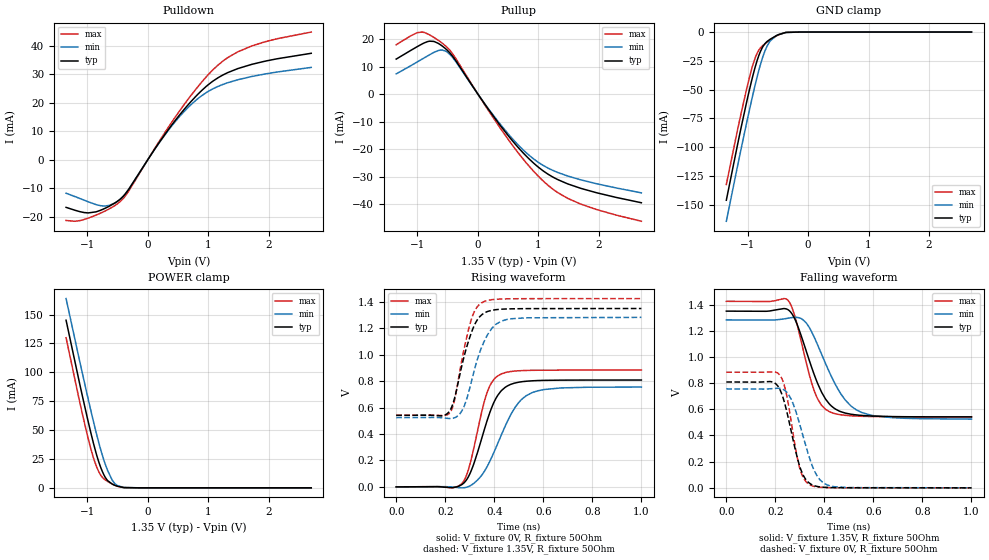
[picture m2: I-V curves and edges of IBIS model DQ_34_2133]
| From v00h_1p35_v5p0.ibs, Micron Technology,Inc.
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| MODEL DQ_34_2133 (34 Ohm Data I/O with no ODT, 2133Mbps)
[Model]   DQ_34_2133
Model_type   I/O
Vinl = 545.000mV
Vinh = 805.000mV
Vmeas = 675.000mV
Vref = 675.000mV
Cref = 0.0pF
Rref = 25.000Ohm
|   typ   min   max
|C_comp   1.100pF   1.025pF   1.175pF
C_comp_pullup   0.5500pF   0.5125pF   0.5875pF
C_comp_pulldown   0.5500pF   0.5125pF   0.5875pF
[Model Spec]
| Input threshold voltage corners
Vinl   0.5450V   0.5115V   0.5825V
Vinh   0.8050V   0.7715V   0.8425V
| Measurement voltage corners
Vmeas   0.6750V   0.6415V   0.7125V
| Timing spec test load voltage corners
Vref   0.6750V   0.6415V   0.7125V
| Dynamic Overshoot Parameters from DDR3L Specification
D_overshoot_ampl_h   0.40   NA   NA
D_overshoot_ampl_l   0.40   NA   NA
D_overshoot_area_h   0.10n   NA   NA
D_overshoot_area_l   0.10n   NA   NA
[Receiver Thresholds]
Vth   =  0.675V
Vth_min  =  0.6615V
Vth_max  =  0.6885V
Vinh_ac  =  0.130V
Vinh_dc  =  0.090V
Vinl_ac  = -0.130V
Vinl_dc  = -0.090V
Tslew_ac =  5.000ns |Not specified, so set to high value
Threshold_sensitivity = 0.50
Reference_supply Pullup_ref
[Voltage Range]   1.3500V   1.2830V   1.4250V
[Pullup Reference]   1.3500V   1.2830V   1.4250V
| Junction Temperature (Ambient temp is 35C typ, 95C min, 0C max)
[Temperature Range]   50.0   110.0   0.0
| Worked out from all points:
|   slope of the pulldown table from 0 to 0.203 V, typ, clamps not added: 31.3 ohm
|   slope of the pullup table from 0 to 0.203 V, typ, clamps not added: 31.7 ohm
|   GND clamp passes 1 mA (typ) near -0.41 V on its own axis
|   POWER clamp passes 1 mA (typ) near -0.47 V on its own axis
|   falling waveform, V_fixture 1.35V, R_fixture 50Ohm: 20-80 % time 96.4ps typ, 120ps min, 74.6ps max; typ from 1.35 V to 0.542 V
|   rising waveform, V_fixture 0V, R_fixture 50Ohm: 20-80 % time 86.4ps typ, 116ps min, 67.9ps max; typ from 0 V to 0.809 V
|   rising waveform, V_fixture 1.35V, R_fixture 50Ohm: 20-80 % time 68.6ps typ, 77.5ps min, 58.8ps max; typ from 0.542 V to 1.35 V
|   falling waveform, V_fixture 0V, R_fixture 50Ohm: 20-80 % time 62ps typ, 74.4ps min, 49.6ps max; typ from 0.809 V to 0 V
[Pulldown]
|   Voltage   I(typ)   I(min)   I(max)
-1.35V    -16.76mA   -11.79mA   -21.37mA
-1.203V   -17.78mA   -12.97mA   -21.65mA
-983.8mV  -18.71mA   -14.81mA   -20.54mA
-729mV    -17.31mA   -16.28mA   -18.29mA
-512.2mV  -14.78mA   -14.8mA    -15.66mA
-317.2mV  -10.47mA   -10.44mA   -11.09mA
189.6mV   6.082mA    5.98mA     6.49mA
522.4mV   15.67mA    15.13mA    17.08mA
882.4mV   24.17mA    22.38mA    27.09mA
1.236V    29.74mA    26.43mA    34.61mA
1.727V    33.57mA    29.29mA    40.06mA
2.7V      37.42mA    32.45mA    44.89mA
[GND Clamp]
|   Voltage   I(typ)   I(min)   I(max)
-1.35V    -146.1mA   -164.4mA   -132.5mA
-1.17V    -99.34mA   -117.9mA   -86.43mA
-1.018V   -61.65mA   -79.69mA   -50.2mA
-931.7mV  -42.14mA   -59.07mA   -32.14mA
-879.8mV  -31.6mA    -47.25mA   -23.36mA
-785.7mV  -16.83mA   -28.09mA   -13.77mA
-691.2mV  -8.931mA   -13.87mA   -9.377mA
-629mV    -6.347mA   -7.938mA   -6.987mA
-528.9mV  -3.282mA   -3.265mA   -3.592mA
-372.4mV  -421.1uA   -474.5uA   -377.2uA
-133.7mV  -518.1nA   -1.943uA   -88.8nA
2.7V      0A         0A         0A
[Pullup]
|   Voltage   I(typ)   I(min)   I(max)
-1.35V    12.73mA    7.348mA    17.95mA
-921.1mV  18.23mA    12.73mA    22.54mA
-730.3mV  19.14mA    15.12mA    20.63mA
-536.3mV  16.54mA    15.64mA    17.55mA
-375.3mV  12.47mA    12.09mA    13.27mA
139.1mV   -4.435mA   -4.284mA   -4.772mA
513.9mV   -15.44mA   -14.78mA   -16.86mA
795.2mV   -22.41mA   -21.22mA   -24.85mA
1.084V    -27.95mA   -25.94mA   -31.64mA
1.322V    -31.06mA   -28.46mA   -35.79mA
1.698V    -34.18mA   -31.09mA   -39.9mA
2.7V      -39.42mA   -35.83mA   -46.14mA
[POWER Clamp]
|   Voltage   I(typ)   I(min)   I(max)
-1.35V    145.1mA    163.8mA    129.9mA
-1.083V   80.08mA    99.66mA    64.53mA
-997.2mV  60.13mA    79.67mA    45.19mA
-896.9mV  38.35mA    57.19mA    25.77mA
-809.9mV  22.44mA    39.09mA    13.97mA
-721.6mV  10.86mA    23.36mA    7.639mA
-662.9mV  6.175mA    14.84mA    5.513mA
-585.3mV  3.162mA    6.434mA    3.248mA
-526.3mV  1.815mA    2.856mA    1.843mA
-402.3mV  294.8uA    422.8uA    231.8uA
-133.7mV  286.8nA    1.419uA    29.78nA
2.7V      0A         0A         0A
[Ramp]
R_load = 50
|   typ   min   max
dV/dt_r 4.8522E-01/8.6392E-11   4.5336E-01/1.1571E-10   5.3033E-01/6.7825E-11
dV/dt_f 4.8499E-01/9.5961E-11   4.5477E-01/1.1968E-10   5.2986E-01/7.4611E-11
[Falling Waveform]
V_fixture = 1.35V
V_fixture_min = 1.283V
V_fixture_max = 1.425V
R_fixture = 50Ohm
C_fixture = 0F
|   Time   V(typ)   V(min)   V(max)
0s        1.35V      1.283V     1.425V
252ps     1.361V     1.296V     1.431V
278ps     1.295V     1.303V     1.321V
312ps     1.125V     1.285V     1.066V
360ps     857.3mV    1.145V     734.3mV
388ps     733.1mV    1.023V     632.1mV
422ps     637.2mV    876.9mV    580.7mV
486ps     570.8mV    669.2mV    553.8mV
554ps     552.9mV    574.4mV    546.5mV
1ns       541.7mV    525mV      541.9mV
[Rising Waveform]
V_fixture = 0V
V_fixture_min = 0V
V_fixture_max = 0V
R_fixture = 50Ohm
C_fixture = 0F
|   Time   V(typ)   V(min)   V(max)
0s        0V         3.235uV    0V
228ps     -6.268mV   -791uV     -6.788mV
268ps     17.92mV    -7.22mV    25.67mV
302ps     105.3mV    8.941mV    179.9mV
370ps     496.9mV    150.5mV    710.5mV
394ps     620.6mV    242.2mV    802.3mV
426ps     722.1mV    380.7mV    852.5mV
484ps     785.9mV    599.2mV    876.6mV
558ps     803.2mV    715.7mV    882.4mV
1ns       808.7mV    755.6mV    883.9mV
[Rising Waveform]
V_fixture = 1.35V
V_fixture_min = 1.283V
V_fixture_max = 1.425V
R_fixture = 50Ohm
C_fixture = 0F
|   Time   V(typ)   V(min)   V(max)
0s        541.6mV    524.4mV    541.9mV
186ps     537.8mV    523.3mV    539.9mV
220ps     580.6mV    517.5mV    564mV
238ps     671.2mV    522.9mV    657.5mV
266ps     903.8mV    569.5mV    943.1mV
304ps     1.154V     776.7mV    1.253V
356ps     1.312V     1.09V      1.401V
406ps     1.341V     1.23V      1.42V
468ps     1.348V     1.272V     1.424V
1ns       1.35V      1.283V     1.425V
[Falling Waveform]
|Gnd
V_fixture = 0V
V_fixture_min = 0V
V_fixture_max = 0V
R_fixture = 50Ohm
C_fixture = 0F
|   Time   V(typ)   V(min)   V(max)
0s        808.7mV    755.7mV    883.9mV
182ps     811.4mV    757.1mV    885.6mV
218ps     752.6mV    759.8mV    861.7mV
244ps     602.4mV    735.1mV    725.2mV
272ps     369mV      644.5mV    418.5mV
300ps     160.7mV    481.5mV    146mV
344ps     29.12mV    202.5mV    19.85mV
382ps     7.05mV     61.11mV    4.406mV
436ps     1.599mV    9.832mV    1.068mV
1ns       2.465uV    12.31uV    739.5nV
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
